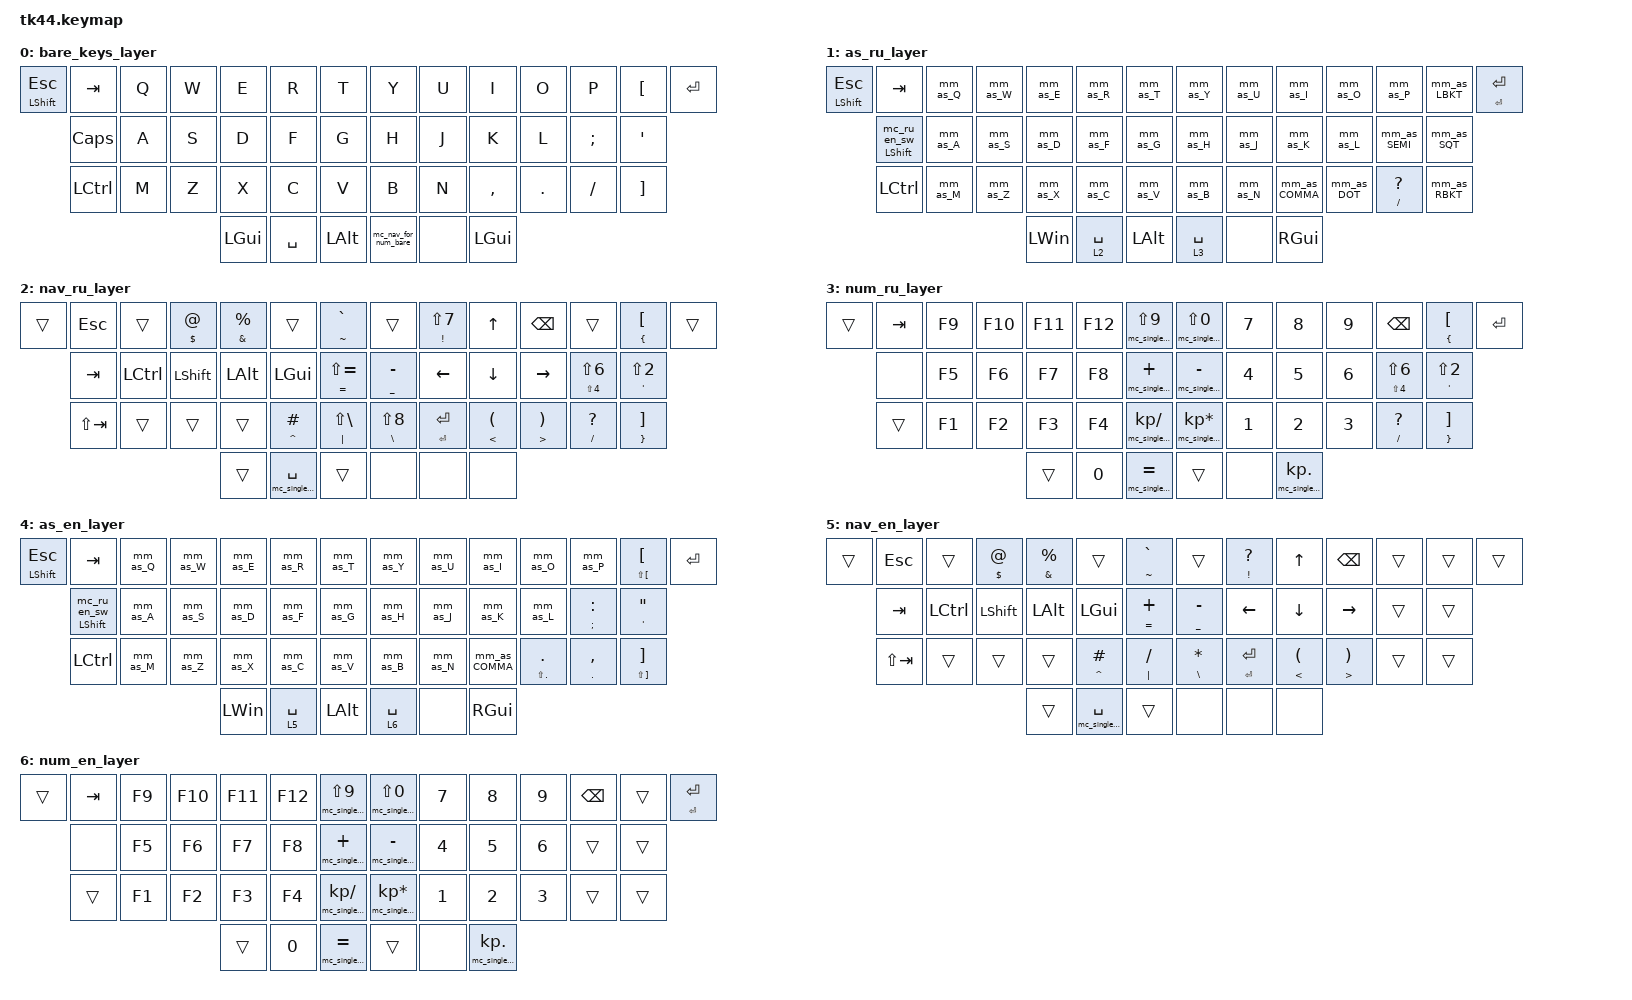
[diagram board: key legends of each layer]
/*
 * Copyright (c) 2022 The ZMK Contributors
 *
 * SPDX-License-Identifier: MIT
 */

#include <behaviors.dtsi>
#include <dt-bindings/zmk/bt.h>
#include <dt-bindings/zmk/keys.h>
#include <dt-bindings/zmk/outputs.h>

#define FROM_TO(row, col) (((row) << 8) + (col))
#define MM_AS(NAME, KEY) \
  mm_as_##KEY: mm_as_##KEY { \
    compatible = "zmk,behavior-mod-morph"; \
    label = #NAME; \
    #binding-cells = <0>; \
    bindings = <&as LS(KEY) KEY>, <&kp KEY>; \
    mods = <(MOD_LSFT|MOD_RSFT|MOD_LGUI|MOD_LALT)>; \
    keep-mods = <(MOD_LSFT|MOD_RSFT|MOD_LGUI|MOD_LALT)>; \
  };

&lt { quick-tap-ms = <160>; };

&mt { quick-tap-ms = <160>; };

&kscan0 {
    debounce-press-ms = <1>;
    debounce-release-ms = <10>;
};

&default_merger {
    map = <
                FROM_TO(42,39)
    >;
};

/ {
    combos {
        compatible = "zmk,combos";

        combo_bootldr {
            bindings = <&bootloader>;
            key-positions = <40 6 1>;
        };

        combo_bt_clr {
            bindings = <&bt BT_CLR>;
            key-positions = <26 6 40>;
        };

        combo_bt0 {
            bindings = <&bt_layer 0 1>;
            key-positions = <40 6 27>;
        };

        combo_bt1 {
            bindings = <&bt_layer 1 0>;
            key-positions = <40 6 30>;
        };

        combo_bt2 {
            bindings = <&bt_layer 2 1>;
            key-positions = <40 6 29>;
        };

        cmb_to_ru {
            bindings = <&to 1>;
            key-positions = <41 7 12>;
            layers = <0>;
        };

        cmb_to_en {
            bindings = <&to 4>;
            key-positions = <41 7 12>;
            layers = <1>;
        };

        cmb_to_bare {
            bindings = <&to 0>;
            key-positions = <41 7 12>;
            layers = <4>;
        };

        output_toggle {
            bindings = <&out OUT_TOG>;
            key-positions = <41 7 10>;
        };
    };

    behaviors {
        MM_AS(q, Q)
        MM_AS(w, W)
        MM_AS(e, E)
        MM_AS(r, R)
        MM_AS(t, T)
        MM_AS(y, Y)
        MM_AS(u, U)
        MM_AS(i, I)
        MM_AS(o, O)
        MM_AS(p, P)

        MM_AS(a, A)
        MM_AS(s, S)
        MM_AS(d, D)
        MM_AS(f, F)
        MM_AS(g, G)
        MM_AS(h, H)
        MM_AS(j, J)
        MM_AS(k, K)
        MM_AS(l, L)

        MM_AS(m, M)
        MM_AS(z, Z)
        MM_AS(x, X)
        MM_AS(c, C)
        MM_AS(v, V)
        MM_AS(b, B)
        MM_AS(n, N)

        MM_AS(comma, COMMA)
        MM_AS(dot, DOT)
        MM_AS(lbkt, LBKT)
        MM_AS(rbkt, RBKT)
        MM_AS(semi, SEMI)
        MM_AS(sqt, SQT)

        as: as {
            compatible = "zmk,behavior-hold-tap";
            label = "AS";
            bindings = <&kp>, <&kp>;

            #binding-cells = <2>;
            tapping-term-ms = <150>;
            quick-tap-ms = <0>;
            flavor = "tap-preferred";
        };

        lt_spc: lt_spc {
            compatible = "zmk,behavior-hold-tap";
            label = "LT_SPC";
            bindings = <&mo>, <&mc_single_tap>;

            #binding-cells = <2>;
            tapping-term-ms = <200>;
            flavor = "balanced";
            hold-trigger-key-positions = <0 1 2 3 5 6 7 8 10 11 12 13 14 15 16 17 18 19 20 21 22 23 24 25 26 27 28 29 30 31 32 33 34 35 36 37 38 40 41 43 4 9>;
        };

        as_single: as_single {
            compatible = "zmk,behavior-hold-tap";
            label = "AS_SINGLE";
            bindings = <&mc_single_tap>, <&kp>;

            #binding-cells = <2>;
            tapping-term-ms = <150>;
            quick-tap-ms = <0>;
            flavor = "tap-preferred";
        };

        as_sw_single: as_sw_single {
            compatible = "zmk,behavior-hold-tap";
            label = "AS_SW_SINGLE";
            bindings = <&mc_sw_tap_sw>, <&kp>;

            #binding-cells = <2>;
            tapping-term-ms = <150>;
            quick-tap-ms = <0>;
            flavor = "tap-preferred";
        };

        sw_as_sw_single: sw_as_sw_single {
            compatible = "zmk,behavior-hold-tap";
            label = "SW_AS_SW_SINGLE";
            bindings = <&mc_sw_tap_sw>, <&mc_sw_tap_sw>;

            #binding-cells = <2>;
            tapping-term-ms = <150>;
            quick-tap-ms = <0>;
            flavor = "tap-preferred";
        };

        sw_as_single: sw_as_single {
            compatible = "zmk,behavior-hold-tap";
            label = "SW_AS_SINGLE";
            bindings = <&mc_single_tap>, <&mc_sw_tap_sw>;

            #binding-cells = <2>;
            tapping-term-ms = <150>;
            quick-tap-ms = <0>;
            flavor = "tap-preferred";
        };

        as_ru_en_sw: as_ru_en_sw {
            compatible = "zmk,behavior-hold-tap";
            label = "AS_RU_EN_SW";
            bindings = <&kp>, <&mc_ru_en_sw>;

            #binding-cells = <2>;
            tapping-term-ms = <150>;
            quick-tap-ms = <0>;
            flavor = "tap-preferred";
        };
    };

    macros {
        mc_ru_en_sw: mc_ru_en_sw {
            compatible = "zmk,behavior-macro";
            #binding-cells = <0>;
            bindings =
                <&macro_tap_time 80>,
                <&kp CAPS>,
                <&macro_wait_time 20>,
                <&macro_tap>,
                <&tog 4>;

            label = "MC_RU_EN_SW";
        };

        mc_single_tap: mc_single_tap {
            compatible = "zmk,behavior-macro-one-param";
            #binding-cells = <1>;
            bindings = <&macro_tap>, <&macro_param_1to1 &kp MACRO_PLACEHOLDER>;

            label = "MC_SINGLE_TAP";
        };

        mc_sw_tap_sw: mc_sw_tap_sw {
            compatible = "zmk,behavior-macro-one-param";
            #binding-cells = <1>;
            bindings =
                <&macro_tap_time 80>,
                <&kp CAPS>,
                <&macro_wait_time 20>,
                <&macro_tap>,
                <&macro_param_1to1 &kp MACRO_PLACEHOLDER>,
                <&macro_tap_time 80>,
                <&kp CLCK>,
                <&macro_wait_time 20>;

            label = "MC_SW_TAP_SW";
        };

        mc_nav_for_num_bare: mc_nav_for_num_bare {
            compatible = "zmk,behavior-macro";
            #binding-cells = <0>;
            bindings =
                <&macro_tap>,
                <&to 6>,
                <&macro_press>,
                <&kp SPACE>,
                <&macro_pause_for_release>,
                <&macro_release>,
                <&kp SPACE>,
                <&macro_tap>,
                <&to 0>;

            label = "MC_NAV_FOR_NUM_BARE";
        };

        bt_layer: bt_layer {
            compatible = "zmk,behavior-macro-two-param";
            #binding-cells = <2>;
            bindings = <&macro_param_1to2 &bt BT_SEL MACRO_PLACEHOLDER &macro_param_2to1 &to MACRO_PLACEHOLDER>;
            label = "BT_LAYER";
        };
    };

    keymap {
        compatible = "zmk,keymap";

        bare_keys_layer {
            bindings = <
&mt LEFT_SHIFT ESCAPE  &kp TAB    &kp Q  &kp W  &kp E     &kp R      &kp T       &kp Y                 &kp U  &kp I      &kp O    &kp P     &kp LBKT  &kp RET
                       &kp CAPS   &kp A  &kp S  &kp D     &kp F      &kp G       &kp H                 &kp J  &kp K      &kp L    &kp SEMI  &kp SQT
                       &kp LCTRL  &kp M  &kp Z  &kp X     &kp C      &kp V       &kp B                 &kp N  &kp COMMA  &kp DOT  &kp FSLH  &kp RBKT
                                                &kp LGUI  &kp SPACE  &kp LALT    &mc_nav_for_num_bare  &none  &kp LGUI
            >;
        };

        as_ru_layer {
            bindings = <
&mt LSHFT ESC  &kp TAB               &mm_as_Q  &mm_as_W  &mm_as_E  &mm_as_R         &mm_as_T    &mm_as_Y     &mm_as_U  &mm_as_I      &mm_as_O    &mm_as_P                  &mm_as_LBKT  &as_single RET RET
               &as_ru_en_sw LSHFT 0  &mm_as_A  &mm_as_S  &mm_as_D  &mm_as_F         &mm_as_G    &mm_as_H     &mm_as_J  &mm_as_K      &mm_as_L    &mm_as_SEMI               &mm_as_SQT
               &kp LCTRL             &mm_as_M  &mm_as_Z  &mm_as_X  &mm_as_C         &mm_as_V    &mm_as_B     &mm_as_N  &mm_as_COMMA  &mm_as_DOT  &as_single FSLH QUESTION  &mm_as_RBKT
                                                         &kp LWIN  &lt_spc 2 SPACE  &kp LALT    &lt 3 SPACE  &none     &kp RGUI
            >;
        };

        nav_ru_layer {
            bindings = <
&trans  &kp ESC      &trans     &sw_as_sw_single DOLLAR AT  &as_sw_single AMPS PERCENT  &trans                       &sw_as_sw_single TILDE GRAVE    &trans                  &as_single EXCL LS(N7)  &kp UP                 &kp BSPC               &trans                     &sw_as_sw_single LBRC LBKT         &trans
        &kp TAB      &kp LCTRL  &kp LSHFT                   &kp LALT                    &kp LGUI                     &as_single EQUAL LS(EQUAL)      &as_single UNDER MINUS  &kp LEFT                &kp DOWN               &kp RIGHT              &as_single LS(N4) LS(N6)   &as_sw_single SINGLE_QUOTE LS(N2)
        &kp LS(TAB)  &trans     &trans                      &trans                      &sw_as_sw_single CARET HASH  &as_sw_single PIPE LS(BSLH)     &as_single BSLH LS(N8)  &as_single RET RET      &as_sw_single LT LPAR  &as_sw_single GT RPAR  &as_single SLASH QUESTION  &sw_as_sw_single RBRC RBKT
                                                            &trans                      &mc_single_tap SPACE         &trans                          &none                   &none                   &none
            >;
        };

        num_ru_layer {
            bindings = <
&trans  &kp TAB  &kp F9  &kp F10  &kp F11  &kp F12  &mc_single_tap LS(N9)       &mc_single_tap LS(N0)       &kp N7  &kp N8                 &kp N9  &kp BSPC                   &sw_as_sw_single LBRC LBKT         &kp ENTER
        &none    &kp F5  &kp F6   &kp F7   &kp F8   &mc_single_tap PLUS         &mc_single_tap MINUS        &kp N4  &kp N5                 &kp N6  &as_single LS(N4) LS(N6)   &as_sw_single SINGLE_QUOTE LS(N2)
        &trans   &kp F1  &kp F2   &kp F3   &kp F4   &mc_single_tap KP_DIVIDE    &mc_single_tap KP_ASTERISK  &kp N1  &kp N2                 &kp N3  &as_single SLASH QUESTION  &sw_as_sw_single RBRC RBKT
                                  &trans   &kp N0   &mc_single_tap EQUAL        &trans                      &none   &mc_single_tap KP_DOT
            >;
        };

        as_en_layer {
            bindings = <
&mt LSHFT ESC  &kp TAB               &mm_as_Q  &mm_as_W  &mm_as_E  &mm_as_R         &mm_as_T    &mm_as_Y     &mm_as_U  &mm_as_I      &mm_as_O                &mm_as_P                 &as_single LS(LBKT) LBKT             &kp ENTER
               &as_ru_en_sw LSHFT 0  &mm_as_A  &mm_as_S  &mm_as_D  &mm_as_F         &mm_as_G    &mm_as_H     &mm_as_J  &mm_as_K      &mm_as_L                &as_single SEMI COLON    &as_single APOSTROPHE DOUBLE_QUOTES
               &kp LCTRL             &mm_as_M  &mm_as_Z  &mm_as_X  &mm_as_C         &mm_as_V    &mm_as_B     &mm_as_N  &mm_as_COMMA  &as_single LS(DOT) DOT  &as_single PERIOD COMMA  &as_single LS(RBKT) RBKT
                                                         &kp LWIN  &lt_spc 5 SPACE  &kp LALT    &lt 6 SPACE  &none     &kp RGUI
            >;
        };

        nav_en_layer {
            bindings = <
&trans  &kp ESCAPE   &trans     &as_single DOLLAR AT  &as_single AMPS PERCENT  &trans                 &as_single TILDE GRAVE    &trans                       &as_single EXCLAMATION QUESTION  &kp UP              &kp BSPC            &trans  &trans  &trans
        &kp TAB      &kp LCTRL  &kp LSHFT             &kp LALT                 &kp LGUI               &as_single EQUAL PLUS     &as_single UNDERSCORE MINUS  &kp LEFT                         &kp DOWN            &kp RIGHT           &trans  &trans
        &kp LS(TAB)  &trans     &trans                &trans                   &as_single CARET HASH  &as_single PIPE SLASH     &as_single BSLH ASTERISK     &as_single RET RET               &as_single LT LPAR  &as_single GT RPAR  &trans  &trans
                                                      &trans                   &mc_single_tap SPACE   &trans                    &none                        &none                            &none
            >;
        };

        num_en_layer {
            bindings = <
&trans  &kp TAB  &kp F9  &kp F10  &kp F11  &kp F12  &mc_single_tap LS(N9)       &mc_single_tap LS(N0)       &kp N7  &kp N8                 &kp N9  &kp BSPC  &trans  &as_single RET RET
        &none    &kp F5  &kp F6   &kp F7   &kp F8   &mc_single_tap PLUS         &mc_single_tap MINUS        &kp N4  &kp N5                 &kp N6  &trans    &trans
        &trans   &kp F1  &kp F2   &kp F3   &kp F4   &mc_single_tap KP_DIVIDE    &mc_single_tap KP_ASTERISK  &kp N1  &kp N2                 &kp N3  &trans    &trans
                                  &trans   &kp N0   &mc_single_tap EQUAL        &trans                      &none   &mc_single_tap KP_DOT
            >;
        };
    };
};
